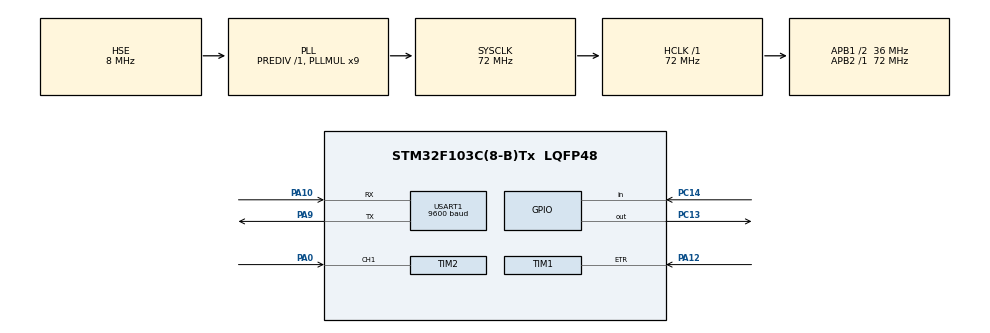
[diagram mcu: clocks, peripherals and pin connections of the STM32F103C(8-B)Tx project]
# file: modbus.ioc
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Mcu.Family=STM32F1
Mcu.Name=STM32F103C(8-B)Tx
Mcu.Package=LQFP48
NVIC.PriorityGroup=NVIC_PRIORITYGROUP_4
NVIC.TIM1_UP_IRQn=true\:1\:0\:true\:false\:true\:true\:true\:true
NVIC.TIM2_IRQn=true\:0\:0\:false\:false\:true\:true\:true\:true
NVIC.TIM3_IRQn=true\:2\:0\:true\:false\:true\:true\:true\:true
NVIC.USART1_IRQn=true\:1\:0\:true\:false\:true\:true\:true\:true
PA0-WKUP.Signal=S_TIM2_CH1_ETR
PA10.Mode=Asynchronous
PA10.Signal=USART1_RX
PA12.Signal=S_TIM1_ETR
PA13.Mode=Serial_Wire
PA13.Signal=SYS_JTMS-SWDIO
PA14.Mode=Serial_Wire
PA14.Signal=SYS_JTCK-SWCLK
PA9.Mode=Asynchronous
PA9.Signal=USART1_TX
PC13-TAMPER-RTC.Signal=GPIO_Output
PC14-OSC32_IN.Signal=GPIO_Input
PD0-OSC_IN.Mode=HSE-External-Oscillator
PD0-OSC_IN.Signal=RCC_OSC_IN
PD1-OSC_OUT.Mode=HSE-External-Oscillator
PD1-OSC_OUT.Signal=RCC_OSC_OUT
ProjectManager.HeapSize=0x200
ProjectManager.StackSize=0x400
ProjectManager.TargetToolchain=STM32CubeIDE
RCC.AHBFreq_Value=72000000
RCC.APB1CLKDivider=RCC_HCLK_DIV2
RCC.APB1Freq_Value=36000000
RCC.APB1TimFreq_Value=72000000
RCC.APB2Freq_Value=72000000
RCC.APB2TimFreq_Value=72000000
RCC.HCLKFreq_Value=72000000
RCC.PLLMUL=RCC_PLL_MUL9
RCC.PLLSourceVirtual=RCC_PLLSOURCE_HSE
RCC.SYSCLKFreq_VALUE=72000000
RCC.SYSCLKSource=RCC_SYSCLKSOURCE_PLLCLK
RCC.USBFreq_Value=72000000
SH.S_TIM1_ETR.0=TIM1_ETR,ClockSourceETR_Mode2
SH.S_TIM2_CH1_ETR.0=TIM2_CH1,Input_Capture1_from_TI1
TIM2.Channel-Input_Capture1_from_TI1=TIM_CHANNEL_1
TIM2.Channel-Input_Capture2_from_TI1_63=TIM_CHANNEL_2
TIM2.ICPolarity_CH2=TIM_INPUTCHANNELPOLARITY_FALLING
TIM3.Prescaler=71
USART1.BaudRate=9600
USART1.VirtualMode=VM_ASYNC
VP_TIM2_VS_ClockSourceINT.Mode=Internal
VP_TIM2_VS_indirect_ch1.Mode=Input_Capture2_from_TI1_63
VP_TIM3_VS_ClockSourceINT.Mode=Internal
board=custom

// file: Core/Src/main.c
/* USER CODE BEGIN Header */
/**
  ******************************************************************************
  * @file           : main.c
  * @brief          : Main program body
  ******************************************************************************
  * @attention
  *
  * Copyright (c) 2026 STMicroelectronics.
  * All rights reserved.
  *
  * This software is licensed under terms that can be found in the LICENSE file
  * in the root directory of this software component.
  * If no LICENSE file comes with this software, it is provided AS-IS.
  *
  ******************************************************************************
  */
/* USER CODE END Header */
#include "main.h"

/* USER CODE BEGIN Includes */
#include "mb.h"
#include "mbport.h"
#include "modbus_user.h"
/* USER CODE END Includes */

TIM_HandleTypeDef htim1;
TIM_HandleTypeDef htim2;
TIM_HandleTypeDef htim3;

UART_HandleTypeDef huart1;

/* USER CODE BEGIN PV */
volatile uint16_t g_capture_width_ticks = 0U;
volatile uint32_t g_capture_pulse_count = 0U;
volatile uint8_t  g_capture_valid = 0U;

static volatile uint16_t g_rise_ccr1 = 0U;
static volatile uint8_t  g_rise_valid = 0U;

volatile uint32_t g_etr_overflow = 0U;
volatile uint8_t g_measurement_running = 0U;

static volatile uint32_t g_histogram[HISTOGRAM_BIN_COUNT];

static volatile uint32_t g_histogram_out_of_range = 0U;
/* USER CODE END PV */

void SystemClock_Config(void);
static void MX_GPIO_Init(void);
static void MX_TIM3_Init(void);
static void MX_USART1_UART_Init(void);
static void MX_TIM2_Init(void);
static void MX_TIM1_Init(void);

int main(void)
{

  /* MCU Configuration--------------------------------------------------------*/

  /* Reset of all peripherals, Initializes the Flash interface and the Systick. */
  HAL_Init();

  /* Configure the system clock */
  SystemClock_Config();

  /* Initialize all configured peripherals */
  MX_GPIO_Init();
  MX_TIM3_Init();
  MX_USART1_UART_Init();
  MX_TIM2_Init();
  MX_TIM1_Init();
  /* USER CODE BEGIN 2 */
eMBErrorCode eStatus;

if (HAL_TIM_IC_Start_IT(&htim2, TIM_CHANNEL_1) != HAL_OK)
{
    Error_Handler();
}

if (HAL_TIM_IC_Start_IT(&htim2, TIM_CHANNEL_2) != HAL_OK)
{
    Error_Handler();
}

eStatus = eMBInit(MB_RTU,
                  1U,          /* 从站地址 */
                  0U,          /* 串口编号，端口层暂时忽略 */
                  9600UL,
                  MB_PAR_NONE);

if (eStatus != MB_ENOERR)
{
    Error_Handler();
}

eStatus = eMBEnable();

if (eStatus != MB_ENOERR)
{
    Error_Handler();
}
  /* USER CODE END 2 */

  /* Infinite loop */
  while (1)
  {

    /* USER CODE BEGIN 3 */
  ModbusUser_UpdateInputRegisters();
  (void)eMBPoll();
  ModbusUser_ProcessCommands();
  }
  /* USER CODE END 3 */
}

void SystemClock_Config(void)
{
  RCC_OscInitTypeDef RCC_OscInitStruct = {0};
  RCC_ClkInitTypeDef RCC_ClkInitStruct = {0};

  /** Initializes the RCC Oscillators according to the specified parameters
  * in the RCC_OscInitTypeDef structure.
  */
  RCC_OscInitStruct.OscillatorType = RCC_OSCILLATORTYPE_HSE;
  RCC_OscInitStruct.HSEState = RCC_HSE_ON;
  RCC_OscInitStruct.HSEPredivValue = RCC_HSE_PREDIV_DIV1;
  RCC_OscInitStruct.HSIState = RCC_HSI_ON;
  RCC_OscInitStruct.PLL.PLLState = RCC_PLL_ON;
  RCC_OscInitStruct.PLL.PLLSource = RCC_PLLSOURCE_HSE;
  RCC_OscInitStruct.PLL.PLLMUL = RCC_PLL_MUL9;
  if (HAL_RCC_OscConfig(&RCC_OscInitStruct) != HAL_OK)
  {
    Error_Handler();
  }

  /** Initializes the CPU, AHB and APB buses clocks
  */
  RCC_ClkInitStruct.ClockType = RCC_CLOCKTYPE_HCLK|RCC_CLOCKTYPE_SYSCLK
                              |RCC_CLOCKTYPE_PCLK1|RCC_CLOCKTYPE_PCLK2;
  RCC_ClkInitStruct.SYSCLKSource = RCC_SYSCLKSOURCE_PLLCLK;
  RCC_ClkInitStruct.AHBCLKDivider = RCC_SYSCLK_DIV1;
  RCC_ClkInitStruct.APB1CLKDivider = RCC_HCLK_DIV2;
  RCC_ClkInitStruct.APB2CLKDivider = RCC_HCLK_DIV1;

  if (HAL_RCC_ClockConfig(&RCC_ClkInitStruct, FLASH_LATENCY_2) != HAL_OK)
  {
    Error_Handler();
  }
}

static void MX_TIM1_Init(void)
{

  TIM_ClockConfigTypeDef sClockSourceConfig = {0};
  TIM_MasterConfigTypeDef sMasterConfig = {0};

  htim1.Instance = TIM1;
  htim1.Init.Prescaler = 0;
  htim1.Init.CounterMode = TIM_COUNTERMODE_UP;
  htim1.Init.Period = 65535;
  htim1.Init.ClockDivision = TIM_CLOCKDIVISION_DIV1;
  htim1.Init.RepetitionCounter = 0;
  htim1.Init.AutoReloadPreload = TIM_AUTORELOAD_PRELOAD_DISABLE;
  if (HAL_TIM_Base_Init(&htim1) != HAL_OK)
  {
    Error_Handler();
  }
  sClockSourceConfig.ClockSource = TIM_CLOCKSOURCE_ETRMODE2;
  sClockSourceConfig.ClockPolarity = TIM_CLOCKPOLARITY_NONINVERTED;
  sClockSourceConfig.ClockPrescaler = TIM_CLOCKPRESCALER_DIV1;
  sClockSourceConfig.ClockFilter = 0;
  if (HAL_TIM_ConfigClockSource(&htim1, &sClockSourceConfig) != HAL_OK)
  {
    Error_Handler();
  }
  sMasterConfig.MasterOutputTrigger = TIM_TRGO_RESET;
  sMasterConfig.MasterSlaveMode = TIM_MASTERSLAVEMODE_DISABLE;
  if (HAL_TIMEx_MasterConfigSynchronization(&htim1, &sMasterConfig) != HAL_OK)
  {
    Error_Handler();
  }

}

static void MX_TIM2_Init(void)
{

  TIM_ClockConfigTypeDef sClockSourceConfig = {0};
  TIM_MasterConfigTypeDef sMasterConfig = {0};
  TIM_IC_InitTypeDef sConfigIC = {0};

  htim2.Instance = TIM2;
  htim2.Init.Prescaler = 0;
  htim2.Init.CounterMode = TIM_COUNTERMODE_UP;
  htim2.Init.Period = 65535;
  htim2.Init.ClockDivision = TIM_CLOCKDIVISION_DIV1;
  htim2.Init.AutoReloadPreload = TIM_AUTORELOAD_PRELOAD_DISABLE;
  if (HAL_TIM_Base_Init(&htim2) != HAL_OK)
  {
    Error_Handler();
  }
  sClockSourceConfig.ClockSource = TIM_CLOCKSOURCE_INTERNAL;
  if (HAL_TIM_ConfigClockSource(&htim2, &sClockSourceConfig) != HAL_OK)
  {
    Error_Handler();
  }
  if (HAL_TIM_IC_Init(&htim2) != HAL_OK)
  {
    Error_Handler();
  }
  sMasterConfig.MasterOutputTrigger = TIM_TRGO_RESET;
  sMasterConfig.MasterSlaveMode = TIM_MASTERSLAVEMODE_DISABLE;
  if (HAL_TIMEx_MasterConfigSynchronization(&htim2, &sMasterConfig) != HAL_OK)
  {
    Error_Handler();
  }
  sConfigIC.ICPolarity = TIM_INPUTCHANNELPOLARITY_RISING;
  sConfigIC.ICSelection = TIM_ICSELECTION_DIRECTTI;
  sConfigIC.ICPrescaler = TIM_ICPSC_DIV1;
  sConfigIC.ICFilter = 0;
  if (HAL_TIM_IC_ConfigChannel(&htim2, &sConfigIC, TIM_CHANNEL_1) != HAL_OK)
  {
    Error_Handler();
  }
  sConfigIC.ICPolarity = TIM_INPUTCHANNELPOLARITY_FALLING;
  sConfigIC.ICSelection = TIM_ICSELECTION_INDIRECTTI;
  if (HAL_TIM_IC_ConfigChannel(&htim2, &sConfigIC, TIM_CHANNEL_2) != HAL_OK)
  {
    Error_Handler();
  }

}

static void MX_TIM3_Init(void)
{

  TIM_ClockConfigTypeDef sClockSourceConfig = {0};
  TIM_MasterConfigTypeDef sMasterConfig = {0};

  htim3.Instance = TIM3;
  htim3.Init.Prescaler = 71;
  htim3.Init.CounterMode = TIM_COUNTERMODE_UP;
  htim3.Init.Period = 65535;
  htim3.Init.ClockDivision = TIM_CLOCKDIVISION_DIV1;
  htim3.Init.AutoReloadPreload = TIM_AUTORELOAD_PRELOAD_DISABLE;
  if (HAL_TIM_Base_Init(&htim3) != HAL_OK)
  {
    Error_Handler();
  }
  sClockSourceConfig.ClockSource = TIM_CLOCKSOURCE_INTERNAL;
  if (HAL_TIM_ConfigClockSource(&htim3, &sClockSourceConfig) != HAL_OK)
  {
    Error_Handler();
  }
  sMasterConfig.MasterOutputTrigger = TIM_TRGO_RESET;
  sMasterConfig.MasterSlaveMode = TIM_MASTERSLAVEMODE_DISABLE;
  if (HAL_TIMEx_MasterConfigSynchronization(&htim3, &sMasterConfig) != HAL_OK)
  {
    Error_Handler();
  }

}

static void MX_USART1_UART_Init(void)
{

  huart1.Instance = USART1;
  huart1.Init.BaudRate = 9600;
  huart1.Init.WordLength = UART_WORDLENGTH_8B;
  huart1.Init.StopBits = UART_STOPBITS_1;
  huart1.Init.Parity = UART_PARITY_NONE;
  huart1.Init.Mode = UART_MODE_TX_RX;
  huart1.Init.HwFlowCtl = UART_HWCONTROL_NONE;
  huart1.Init.OverSampling = UART_OVERSAMPLING_16;
  if (HAL_UART_Init(&huart1) != HAL_OK)
  {
    Error_Handler();
  }

}

static void MX_GPIO_Init(void)
{
  GPIO_InitTypeDef GPIO_InitStruct = {0};

  /* GPIO Ports Clock Enable */
  __HAL_RCC_GPIOC_CLK_ENABLE();
  __HAL_RCC_GPIOD_CLK_ENABLE();
  __HAL_RCC_GPIOA_CLK_ENABLE();

  /*Configure GPIO pin Output Level */
  HAL_GPIO_WritePin(GPIOC, GPIO_PIN_13, GPIO_PIN_RESET);

  /*Configure GPIO pin : PC13 */
  GPIO_InitStruct.Pin = GPIO_PIN_13;
  GPIO_InitStruct.Mode = GPIO_MODE_OUTPUT_PP;
  GPIO_InitStruct.Pull = GPIO_NOPULL;
  GPIO_InitStruct.Speed = GPIO_SPEED_FREQ_LOW;
  HAL_GPIO_Init(GPIOC, &GPIO_InitStruct);

  /*Configure GPIO pin : PC14 */
  GPIO_InitStruct.Pin = GPIO_PIN_14;
  GPIO_InitStruct.Mode = GPIO_MODE_INPUT;
  GPIO_InitStruct.Pull = GPIO_NOPULL;
  HAL_GPIO_Init(GPIOC, &GPIO_InitStruct);

}

/* USER CODE BEGIN 4 */
void HAL_TIM_IC_CaptureCallback(TIM_HandleTypeDef *htim)
{
    if (htim->Instance != TIM2)
    {
        return;
    }

    if (g_measurement_running == 0U)
    {
        g_rise_valid = 0U;
        return;
    }

    if (htim->Channel == HAL_TIM_ACTIVE_CHANNEL_1)
    {
        g_rise_ccr1 =
            (uint16_t)HAL_TIM_ReadCapturedValue(
                htim,
                TIM_CHANNEL_1);

        g_rise_valid = 1U;
    }
    else if (htim->Channel == HAL_TIM_ACTIVE_CHANNEL_2)
    {
        uint16_t fall_ccr2 =
            (uint16_t)HAL_TIM_ReadCapturedValue(
                htim,
                TIM_CHANNEL_2);

        if (g_rise_valid != 0U)
        {
        	uint16_t width_ticks =
        	    (uint16_t)(fall_ccr2 - g_rise_ccr1);

        	g_capture_width_ticks = width_ticks;
        	g_capture_pulse_count++;
        	g_capture_valid = 1U;

        	if (width_ticks < HISTOGRAM_BIN_COUNT)
        	{
        	    /*
        	     * 防止32位桶计数溢出后重新变成0。
        	     */
        	    if (g_histogram[width_ticks] < 0xFFFFFFFFUL)
        	    {
        	        g_histogram[width_ticks]++;
        	    }
        	}
        	else
        	{
        	    if (g_histogram_out_of_range < 0xFFFFFFFFUL)
        	    {
        	        g_histogram_out_of_range++;
        	    }
        	}

        	g_rise_valid = 0U;
        }
    }
}

void HAL_TIM_PeriodElapsedCallback(TIM_HandleTypeDef *htim)
{
    if (htim->Instance == TIM1)
    {
        g_etr_overflow++;
    }
}

uint32_t Measurement_GetEtrCount(void)
{
    uint32_t high1;
    uint32_t high2;
    uint16_t low;

    do
    {
        high1 = g_etr_overflow;
        low = (uint16_t)__HAL_TIM_GET_COUNTER(&htim1);
        high2 = g_etr_overflow;
    }
    while (high1 != high2);

    return high2 * 65536UL + low;
}

void Measurement_Clear(void)
{
    uint32_t primask = __get_PRIMASK();
    uint16_t i;

    __disable_irq();

    g_capture_width_ticks = 0U;
    g_capture_pulse_count = 0U;
    g_capture_valid = 0U;

    g_rise_ccr1 = 0U;
    g_rise_valid = 0U;

    g_etr_overflow = 0U;

    __HAL_TIM_SET_COUNTER(&htim1, 0U);
    __HAL_TIM_CLEAR_FLAG(&htim1, TIM_FLAG_UPDATE);

    for (i = 0U; i < HISTOGRAM_BIN_COUNT; i++)
    {
        g_histogram[i] = 0U;
    }

    g_histogram_out_of_range = 0U;

    __set_PRIMASK(primask);
}
void Measurement_Stop(void)
{
    HAL_TIM_Base_Stop_IT(&htim1);

    g_measurement_running = 0U;
    g_rise_valid = 0U;
}

void Measurement_Start(void)
{
    Measurement_Stop();
    Measurement_Clear();

    if (HAL_TIM_Base_Start_IT(&htim1) != HAL_OK)
    {
        Error_Handler();
    }

    g_measurement_running = 1U;
}

uint32_t Measurement_GetHistogramBin(uint16_t bin)
{
    if (bin >= HISTOGRAM_BIN_COUNT)
    {
        return 0U;
    }

    return g_histogram[bin];
}

uint32_t Measurement_GetHistogramOutOfRange(void)
{
    return g_histogram_out_of_range;
}
/* USER CODE END 4 */

void Error_Handler(void)
{
  __disable_irq();
  while (1)
  {
  }
}
